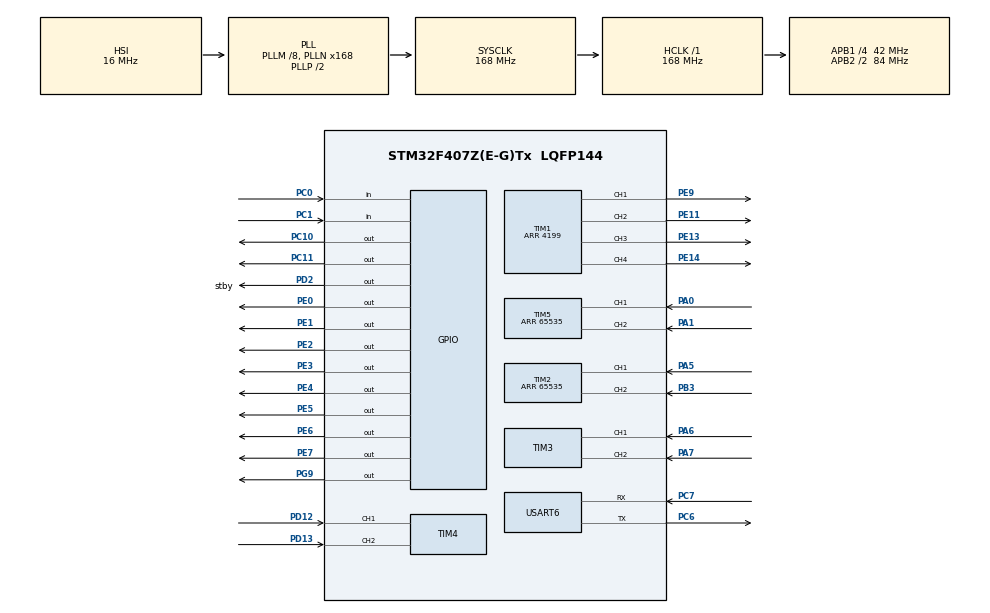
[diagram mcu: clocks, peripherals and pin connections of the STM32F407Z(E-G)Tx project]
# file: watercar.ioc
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Mcu.Family=STM32F4
Mcu.Name=STM32F407Z(E-G)Tx
Mcu.Package=LQFP144
NVIC.PriorityGroup=NVIC_PRIORITYGROUP_4
NVIC.TIM2_IRQn=true\:1\:0\:true\:false\:true\:true\:true\:true
NVIC.TIM3_IRQn=true\:1\:0\:true\:false\:true\:true\:true\:true
NVIC.TIM4_IRQn=true\:1\:0\:true\:false\:true\:true\:true\:true
NVIC.TIM5_IRQn=true\:1\:0\:true\:false\:true\:true\:true\:true
PA0-WKUP.Signal=S_TIM5_CH1
PA1.Signal=S_TIM5_CH2
PA13.Mode=Serial_Wire
PA13.Signal=SYS_JTMS-SWDIO
PA14.Mode=Serial_Wire
PA14.Signal=SYS_JTCK-SWCLK
PA5.Signal=S_TIM2_CH1_ETR
PA6.Signal=S_TIM3_CH1
PA7.Signal=S_TIM3_CH2
PB3.Signal=S_TIM2_CH2
PC0.GPIO_PuPd=GPIO_PULLUP
PC0.Signal=GPIO_Input
PC1.GPIO_PuPd=GPIO_PULLUP
PC1.Signal=GPIO_Input
PC10.Signal=GPIO_Output
PC11.Signal=GPIO_Output
PC6.Mode=Asynchronous
PC6.Signal=USART6_TX
PC7.Mode=Asynchronous
PC7.Signal=USART6_RX
PD12.Signal=S_TIM4_CH1
PD13.Signal=S_TIM4_CH2
PD2.GPIO_Label=stby
PD2.GPIO_PuPd=GPIO_PULLUP
PD2.Signal=GPIO_Output
PE0.GPIO_PuPd=GPIO_PULLUP
PE0.Signal=GPIO_Output
PE1.GPIO_PuPd=GPIO_PULLUP
PE1.Signal=GPIO_Output
PE11.Signal=S_TIM1_CH2
PE13.Signal=S_TIM1_CH3
PE14.Signal=S_TIM1_CH4
PE2.GPIO_PuPd=GPIO_PULLUP
PE2.Signal=GPIO_Output
PE3.GPIO_PuPd=GPIO_PULLUP
PE3.Signal=GPIO_Output
PE4.GPIO_PuPd=GPIO_PULLUP
PE4.Signal=GPIO_Output
PE5.GPIO_PuPd=GPIO_PULLUP
PE5.Signal=GPIO_Output
PE6.GPIO_PuPd=GPIO_PULLUP
PE6.Signal=GPIO_Output
PE7.GPIO_PuPd=GPIO_PULLUP
PE7.Signal=GPIO_Output
PE9.Signal=S_TIM1_CH1
PG9.Signal=GPIO_Output
PH0-OSC_IN.Mode=HSE-External-Oscillator
PH0-OSC_IN.Signal=RCC_OSC_IN
PH1-OSC_OUT.Mode=HSE-External-Oscillator
PH1-OSC_OUT.Signal=RCC_OSC_OUT
ProjectManager.HeapSize=0x200
ProjectManager.StackSize=0x400
ProjectManager.TargetToolchain=CMake
RCC.48MHZClocksFreq_Value=84000000
RCC.AHBFreq_Value=168000000
RCC.APB1CLKDivider=RCC_HCLK_DIV4
RCC.APB1Freq_Value=42000000
RCC.APB1TimFreq_Value=84000000
RCC.APB2CLKDivider=RCC_HCLK_DIV2
RCC.APB2Freq_Value=84000000
RCC.APB2TimFreq_Value=168000000
RCC.CortexFreq_Value=168000000
RCC.HCLKFreq_Value=168000000
RCC.HSE_VALUE=25000000
RCC.HSI_VALUE=16000000
RCC.LSE_VALUE=32768
RCC.PLLM=8
RCC.PLLN=168
RCC.SYSCLKFreq_VALUE=168000000
RCC.SYSCLKSource=RCC_SYSCLKSOURCE_PLLCLK
RCC.VCOOutputFreq_Value=336000000
SH.S_TIM1_CH1.0=TIM1_CH1,PWM Generation1 CH1
SH.S_TIM1_CH2.0=TIM1_CH2,PWM Generation2 CH2
SH.S_TIM1_CH3.0=TIM1_CH3,PWM Generation3 CH3
SH.S_TIM1_CH4.0=TIM1_CH4,PWM Generation4 CH4
SH.S_TIM2_CH1_ETR.0=TIM2_CH1,Encoder_Interface
SH.S_TIM2_CH2.0=TIM2_CH2,Encoder_Interface
SH.S_TIM3_CH1.0=TIM3_CH1,Encoder_Interface
SH.S_TIM3_CH2.0=TIM3_CH2,Encoder_Interface
SH.S_TIM4_CH1.0=TIM4_CH1,Encoder_Interface
SH.S_TIM4_CH2.0=TIM4_CH2,Encoder_Interface
SH.S_TIM5_CH1.0=TIM5_CH1,Encoder_Interface
SH.S_TIM5_CH2.0=TIM5_CH2,Encoder_Interface
TIM1.AutoReloadPreload=TIM_AUTORELOAD_PRELOAD_ENABLE
TIM1.Channel-PWM\ Generation1\ CH1=TIM_CHANNEL_1
TIM1.Channel-PWM\ Generation2\ CH2=TIM_CHANNEL_2
TIM1.Channel-PWM\ Generation3\ CH3=TIM_CHANNEL_3
TIM1.Channel-PWM\ Generation4\ CH4=TIM_CHANNEL_4
TIM1.Period=4199
TIM2.EncoderMode=TIM_ENCODERMODE_TI12
TIM2.Period=65535
TIM3.EncoderMode=TIM_ENCODERMODE_TI12
TIM4.EncoderMode=TIM_ENCODERMODE_TI12
TIM5.EncoderMode=TIM_ENCODERMODE_TI12
TIM5.Period=65535
USART6.VirtualMode=VM_ASYNC
board=custom

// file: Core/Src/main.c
/* USER CODE BEGIN Header */
/**
  ******************************************************************************
  * @file           : main.c
  * @brief          : Main program body
  ******************************************************************************
  * @attention
  *
  * Copyright (c) 2026 STMicroelectronics.
  * All rights reserved.
  *
  * This software is licensed under terms that can be found in the LICENSE file
  * in the root directory of this software component.
  * If no LICENSE file comes with this software, it is provided AS-IS.
  *
  ******************************************************************************
  */
/* USER CODE END Header */
#include "main.h"
#include "stm32f407xx.h"
#include "stm32f4xx_hal.h"
#include "stm32f4xx_hal_uart.h"
#include "tim.h"
#include "usart.h"
#include "gpio.h"

/* USER CODE BEGIN Includes */
#include "bsp_motor.h"
#include "bsp_encoder.h"
#include "bsp_key.h"
#include "pid.h"
#include "mecanum.h"
#include "odom.h"
#include "trajectory.h"
#include <stdint.h>
#include <stdio.h>
#include <string.h>
/* USER CODE END Includes */

/* USER CODE BEGIN PTD */
void UART_SendSpeed(void)
{
    char tx_buf[128];  // 发送缓冲区，大小根据实际数据调整
    int len;            // 格式化后的字符串长度

// // 【临时测试】直接打印4个定时器的CNT寄存器值（不经过Encoder_GetCnt）
//     uint16_t tim2_cnt = __HAL_TIM_GET_COUNTER(&htim2); // LF
//     uint16_t tim3_cnt = __HAL_TIM_GET_COUNTER(&htim3); // RF
//     uint16_t tim4_cnt = __HAL_TIM_GET_COUNTER(&htim4); // LB
//     uint16_t tim5_cnt = __HAL_TIM_GET_COUNTER(&htim5); // RB

//     len = sprintf(tx_buf, "TIM_CNT[2:%d, 3:%d, 4:%d, 5:%d]\r\n",
//                   tim2_cnt, tim3_cnt, tim4_cnt, tim5_cnt);
//     HAL_UART_Transmit(&huart6, (uint8_t *)tx_buf, len, 10);
    // 1. 获取4个轮子的转速（RPM）
    float wheel_rpm[4];
    wheel_rpm[WHEEL_LF] = Encoder_GetRPM(WHEEL_LF);
    wheel_rpm[WHEEL_RF] = Encoder_GetRPM(WHEEL_RF);
    wheel_rpm[WHEEL_LB] = Encoder_GetRPM(WHEEL_LB);
    wheel_rpm[WHEEL_RB] = Encoder_GetRPM(WHEEL_RB);

    // 2. 获取底盘当前速度（vx, vy, omega）
    float wheel_rad_s[4];
    ChassisSpeed_Typedef chassis_speed;
    Encoder_GetRadS(wheel_rad_s);
    Mecanum_PositiveCalc(wheel_rad_s, &chassis_speed);

    // 3. 用sprintf将数据格式化为字符串（不使用printf）
    // 格式说明：%.1f保留1位小数，%.2f保留2位小数
    len = sprintf(tx_buf,
                  "WHEEL[LF:%.1f, RF:%.1f, LB:%.1f, RB:%.1f] | CHASSIS[vx:%.2f, vy:%.2f, omega:%.2f]\r\n",
                  wheel_rpm[WHEEL_LF], wheel_rpm[WHEEL_RF], wheel_rpm[WHEEL_LB], wheel_rpm[WHEEL_RB],
                  chassis_speed.vx, chassis_speed.vy, chassis_speed.omega);

    // 4. 直接调用HAL库底层函数发送字符串
    // 参数说明：串口句柄、数据指针、数据长度、超时时间(ms)
   // HAL_UART_Transmit(&huart6, (uint8_t *)tx_buf, len, 10);
}
/* ========== UART 接收（轮询+帧同步）========== */
#define UART_RX_BUF_SIZE 6          // 接收缓冲区大小
#define UART_SYNC1      0xAA
#define UART_CMD_POS    0x55        // 位置指令: AA 55 XH XL YH YL
#define UART_CMD_YAW    0x56        // 航向指令: AA 56 TH TL
#define UART_TIMEOUT_MS 100         // 帧超时：100ms 内没收完就丢弃

static uint8_t  uart_rx_buf[UART_RX_BUF_SIZE];
static uint8_t  uart_rx_idx = 0;
static uint8_t  uart_rx_cmd = 0;    // 当前帧的指令类型
static uint8_t  uart_rx_len = 0;    // 当前帧的期望总长度
static uint32_t uart_rx_tick = 0;

void Process_UART_Command(void)
{
    uint8_t byte;
    while (HAL_UART_Receive(&huart6, &byte, 1, 0) == HAL_OK)
    {
        switch (uart_rx_idx)
        {
        case 0:  // 等待帧头 AA
            if (byte == UART_SYNC1) {
                uart_rx_buf[0] = byte;
                uart_rx_idx = 1;
                uart_rx_tick = HAL_GetTick();
            }
            break;

        case 1:  // 等待指令类型
            uart_rx_buf[1] = byte;
            if (byte == UART_CMD_POS) {
                uart_rx_cmd = UART_CMD_POS;
                uart_rx_len = 6;   // AA 55 + 4字节数据
                uart_rx_idx = 2;
            } else if (byte == UART_CMD_YAW) {
                uart_rx_cmd = UART_CMD_YAW;
                uart_rx_len = 4;   // AA 56 + 2字节数据
                uart_rx_idx = 2;
            } else {
                uart_rx_idx = 0;   // 未知指令，丢弃
            }
            break;

        default:  // 收数据字节
            uart_rx_buf[uart_rx_idx++] = byte;
            if (uart_rx_idx >= uart_rx_len) {
                uart_rx_idx = 0;
                if (uart_rx_cmd == UART_CMD_POS) {
                    uint16_t x_raw = (uart_rx_buf[2] << 8) | uart_rx_buf[3];
                    uint16_t y_raw = (uart_rx_buf[4] << 8) | uart_rx_buf[5];
                    float tx = (float)x_raw / 1000.0f;
                    float ty = (float)y_raw / 1000.0f;
                    Trajectory_SetTarget(tx, ty);
                    HAL_UART_Transmit(&huart6, (uint8_t*)"K", 1, 10);
                } else if (uart_rx_cmd == UART_CMD_YAW) {
                    int16_t theta_raw = (uart_rx_buf[2] << 8) | uart_rx_buf[3];
                    float theta = (float)theta_raw / 1000.0f;   // mrad → rad
                    Trajectory_SetYaw(theta);
                    HAL_UART_Transmit(&huart6, (uint8_t*)"K", 1, 10);
                }
            }
            break;
        }
    }

    // 超时保护：超过 100ms 没收完一帧，丢弃半帧数据
    if (uart_rx_idx > 0 && HAL_GetTick() - uart_rx_tick > UART_TIMEOUT_MS) {
        uart_rx_idx = 0;
    }
}
/* USER CODE END PTD */

/* USER CODE BEGIN PD */
#define UART_BUF_SIZE 128

/* USER CODE END PD */

/* USER CODE BEGIN PV */
uint32_t last_tick = 0; // 10ms周期计时
Odom_Typedef *odom_info; // 里程计信息
uint8_t uart_buf[UART_BUF_SIZE]; // 新增：串口发送缓冲区
/* USER CODE END PV */

void SystemClock_Config(void);

/* USER CODE BEGIN 0 */
void HAL_TIM_PeriodElapsedCallback(TIM_HandleTypeDef *htim)
{
    Encoder_OverflowHandler(htim);
    SysState_Typedef state = Trajectory_GetState();
    if(state == STATE_IDLE)
    {
        HAL_GPIO_WritePin(GPIOC, GPIO_PIN_10, GPIO_PIN_SET);   // 绿灯亮
        HAL_GPIO_WritePin(GPIOC, GPIO_PIN_11, GPIO_PIN_RESET); // 红灯灭
    }
    else if(state == STATE_RUNNING)
    {
        HAL_GPIO_WritePin(GPIOC, GPIO_PIN_10, GPIO_PIN_RESET); // 绿灯灭
        HAL_GPIO_WritePin(GPIOC, GPIO_PIN_11, GPIO_PIN_SET);   // 红灯亮
    }
    else if(state == STATE_ARRIVED)
    {
        HAL_GPIO_WritePin(GPIOC, GPIO_PIN_10, GPIO_PIN_SET);   // 绿灯亮
        HAL_GPIO_WritePin(GPIOC, GPIO_PIN_11, GPIO_PIN_SET);   // 红灯亮（双灯亮=已到达）
    }
}
/* USER CODE END 0 */

int main(void)
{

  /* MCU Configuration--------------------------------------------------------*/

  /* Reset of all peripherals, Initializes the Flash interface and the Systick. */
  HAL_Init();

  /* Configure the system clock */
  SystemClock_Config();

  /* Initialize all configured peripherals */
  MX_GPIO_Init();
  MX_TIM1_Init();
  MX_TIM2_Init();
  MX_TIM3_Init();
  MX_TIM4_Init();
  MX_TIM5_Init();
  MX_USART6_UART_Init();
  /* USER CODE BEGIN 2 */
 // ==================== 模块初始化 ====================
  Motor_Init();         // 电机初始化
  Encoder_Init();       // 编码器初始化
  Key_Init();           // 按键初始化
  Odom_Init();          // 里程计初始化
  Trajectory_Init();    // 轨迹控制初始化

  // 获取里程计信息指针
  odom_info = Odom_GetInfo();

  //HAL_UART_Transmit(&huart6, (uint8_t *)"Init Success!\r\n", 16, 0xFFFF);

  // 开机显示
  // Oled_ShowString(0, 0, "Mecanum Chassis");
  // Oled_ShowString(0, 2, "Init Success!");
  // HAL_Delay(1000);
  // Oled_Clear();
  /* USER CODE END 2 */

  /* Infinite loop */
  /* USER CODE BEGIN WHILE */
  while (1)
  {// ==================== 10ms固定周期控制（主循环）====================
    if(HAL_GetTick() - last_tick >= 10)
    {
        last_tick = HAL_GetTick();

        Process_UART_Command();      // 持续接收上位机指令
        Encoder_UpdateAll();        // 每周期只采集一次编码器
        UART_SendSpeed();
        Trajectory_ControlLoop();  // 轨迹控制主循环

           // ==================== 串口打印调试信息 ====================
  //  sprintf((char*)uart_buf, "X:%.3f Y:%.3f Theta:%.2f State:%d\r\n",
  //          odom_info->x, odom_info->y, odom_info->theta, Trajectory_GetState());
  //   HAL_UART_Transmit(&huart6, uart_buf, strlen((char*)uart_buf), 100);
    }

    // ==================== 按键处理 ====================
    uint8_t key = Key_Scan();
    switch(key)
    {
        case KEY_START:
            Trajectory_SetTarget(0.8f, 0.8f);
            break;

        case KEY_RESET:
            // 原点复位
            Trajectory_ResetOrigin();
            //HAL_UART_Transmit(&huart6, (uint8_t*)"Origin Reset!\r\n", 14, 100);
            break;

        case KEY_STOP:
            // 紧急停止
            Trajectory_Stop();
            //HAL_UART_Transmit(&huart6, (uint8_t*)"Stop!\r\n", 6, 100);
            break;
    }

    /* USER CODE END WHILE */

  }
}

void SystemClock_Config(void)
{
  RCC_OscInitTypeDef RCC_OscInitStruct = {0};
  RCC_ClkInitTypeDef RCC_ClkInitStruct = {0};

  /** Configure the main internal regulator output voltage
  */
  __HAL_RCC_PWR_CLK_ENABLE();
  __HAL_PWR_VOLTAGESCALING_CONFIG(PWR_REGULATOR_VOLTAGE_SCALE1);

  /** Initializes the RCC Oscillators according to the specified parameters
  * in the RCC_OscInitTypeDef structure.
  */
  RCC_OscInitStruct.OscillatorType = RCC_OSCILLATORTYPE_HSI;
  RCC_OscInitStruct.HSIState = RCC_HSI_ON;
  RCC_OscInitStruct.HSICalibrationValue = RCC_HSICALIBRATION_DEFAULT;
  RCC_OscInitStruct.PLL.PLLState = RCC_PLL_ON;
  RCC_OscInitStruct.PLL.PLLSource = RCC_PLLSOURCE_HSI;
  RCC_OscInitStruct.PLL.PLLM = 8;
  RCC_OscInitStruct.PLL.PLLN = 168;
  RCC_OscInitStruct.PLL.PLLP = RCC_PLLP_DIV2;
  RCC_OscInitStruct.PLL.PLLQ = 4;
  if (HAL_RCC_OscConfig(&RCC_OscInitStruct) != HAL_OK)
  {
    Error_Handler();
  }

  /** Initializes the CPU, AHB and APB buses clocks
  */
  RCC_ClkInitStruct.ClockType = RCC_CLOCKTYPE_HCLK|RCC_CLOCKTYPE_SYSCLK
                              |RCC_CLOCKTYPE_PCLK1|RCC_CLOCKTYPE_PCLK2;
  RCC_ClkInitStruct.SYSCLKSource = RCC_SYSCLKSOURCE_PLLCLK;
  RCC_ClkInitStruct.AHBCLKDivider = RCC_SYSCLK_DIV1;
  RCC_ClkInitStruct.APB1CLKDivider = RCC_HCLK_DIV4;
  RCC_ClkInitStruct.APB2CLKDivider = RCC_HCLK_DIV2;

  if (HAL_RCC_ClockConfig(&RCC_ClkInitStruct, FLASH_LATENCY_5) != HAL_OK)
  {
    Error_Handler();
  }
}

void Error_Handler(void)
{
  __disable_irq();
  while (1)
  {
  }
}
